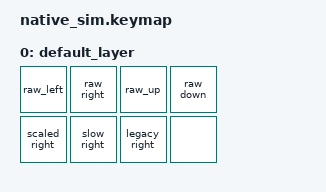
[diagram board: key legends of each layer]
#include <zephyr/dt-bindings/gpio/gpio.h>
#include <zephyr/dt-bindings/input/input-event-codes.h>

#include <behaviors.dtsi>
#include <dt-bindings/zmk/kscan_mock.h>

/ {
    behaviors {
        raw_left: raw_left {
            compatible = "zmk,behavior-gpio-emul-input";
            #binding-cells = <0>;
            gpios = <&gpio0 1 GPIO_ACTIVE_HIGH>;
        };
        raw_right: raw_right {
            compatible = "zmk,behavior-gpio-emul-input";
            #binding-cells = <0>;
            gpios = <&gpio0 2 GPIO_ACTIVE_HIGH>;
        };
        raw_up: raw_up {
            compatible = "zmk,behavior-gpio-emul-input";
            #binding-cells = <0>;
            gpios = <&gpio0 3 GPIO_ACTIVE_HIGH>;
        };
        raw_down: raw_down {
            compatible = "zmk,behavior-gpio-emul-input";
            #binding-cells = <0>;
            gpios = <&gpio0 4 GPIO_ACTIVE_HIGH>;
        };
        scaled_right: scaled_right {
            compatible = "zmk,behavior-gpio-emul-input";
            #binding-cells = <0>;
            gpios = <&gpio0 7 GPIO_ACTIVE_HIGH>;
        };
        slow_right: slow_right {
            compatible = "zmk,behavior-gpio-emul-input";
            #binding-cells = <0>;
            gpios = <&gpio0 12 GPIO_ACTIVE_HIGH>;
        };
        legacy_right: legacy_right {
            compatible = "zmk,behavior-gpio-emul-input";
            #binding-cells = <0>;
            gpios = <&gpio0 17 GPIO_ACTIVE_HIGH>;
        };
    };

    raw_trackball: raw_trackball {
        compatible = "sparkfun,blackberry-trackballer";
        left-gpios = <&gpio0 1 GPIO_ACTIVE_HIGH>;
        right-gpios = <&gpio0 2 GPIO_ACTIVE_HIGH>;
        up-gpios = <&gpio0 3 GPIO_ACTIVE_HIGH>;
        down-gpios = <&gpio0 4 GPIO_ACTIVE_HIGH>;
        button-gpios = <&gpio0 5 GPIO_ACTIVE_HIGH>;
        zephyr,axis-x = <INPUT_REL_X>;
        zephyr,axis-y = <INPUT_REL_Y>;
        report-period-ms = <4>;
        interpolation-frames = <4>;
        acceleration-start-hz = <100>;
        acceleration-max-hz = <200>;
        minimum-step = <8>;
        maximum-step = <8>;
    };

    raw_trackball_listener: raw_trackball_listener {
        compatible = "zmk,input-listener";
        device = <&raw_trackball>;
    };

    scaled_trackball: scaled_trackball {
        compatible = "sparkfun,blackberry-trackballer";
        left-gpios = <&gpio0 6 GPIO_ACTIVE_HIGH>;
        right-gpios = <&gpio0 7 GPIO_ACTIVE_HIGH>;
        up-gpios = <&gpio0 8 GPIO_ACTIVE_HIGH>;
        down-gpios = <&gpio0 9 GPIO_ACTIVE_HIGH>;
        button-gpios = <&gpio0 10 GPIO_ACTIVE_HIGH>;
        zephyr,axis-x = <INPUT_REL_X>;
        zephyr,axis-y = <INPUT_REL_Y>;
        report-period-ms = <4>;
        interpolation-frames = <4>;
        acceleration-start-hz = <100>;
        acceleration-max-hz = <200>;
        minimum-step = <8>;
        maximum-step = <8>;
    };

    scaled_speed: scaled_speed {
        compatible = "zmk,input-processor-speed-profile";
        #input-processor-cells = <0>;
        type = <INPUT_EV_REL>;
        codes = <INPUT_REL_X INPUT_REL_Y>;
        speed-percentages = <300>;
        default-speed-level = <1>;
        track-remainders;
    };

    scaled_trackball_listener: scaled_trackball_listener {
        compatible = "zmk,input-listener";
        device = <&scaled_trackball>;
        input-processors = <&scaled_speed>;
    };

    slow_trackball: slow_trackball {
        compatible = "sparkfun,blackberry-trackballer";
        left-gpios = <&gpio0 11 GPIO_ACTIVE_HIGH>;
        right-gpios = <&gpio0 12 GPIO_ACTIVE_HIGH>;
        up-gpios = <&gpio0 13 GPIO_ACTIVE_HIGH>;
        down-gpios = <&gpio0 14 GPIO_ACTIVE_HIGH>;
        button-gpios = <&gpio0 15 GPIO_ACTIVE_HIGH>;
        zephyr,axis-x = <INPUT_REL_X>;
        zephyr,axis-y = <INPUT_REL_Y>;
        report-period-ms = <4>;
        interpolation-frames = <4>;
        acceleration-start-hz = <100>;
        acceleration-max-hz = <200>;
        minimum-step = <1>;
        maximum-step = <1>;
    };

    slow_trackball_listener: slow_trackball_listener {
        compatible = "zmk,input-listener";
        device = <&slow_trackball>;
    };

    legacy_trackball: legacy_trackball {
        compatible = "sparkfun,blackberry-trackballer";
        left-gpios = <&gpio0 16 GPIO_ACTIVE_HIGH>;
        right-gpios = <&gpio0 17 GPIO_ACTIVE_HIGH>;
        up-gpios = <&gpio0 18 GPIO_ACTIVE_HIGH>;
        down-gpios = <&gpio0 19 GPIO_ACTIVE_HIGH>;
        button-gpios = <&gpio0 20 GPIO_ACTIVE_HIGH>;
        zephyr,axis-x = <INPUT_REL_X>;
        zephyr,axis-y = <INPUT_REL_Y>;
        report-period-ms = <4>;
        acceleration-start-hz = <100>;
        acceleration-max-hz = <200>;
        minimum-step = <8>;
        maximum-step = <8>;
    };

    legacy_trackball_listener: legacy_trackball_listener {
        compatible = "zmk,input-listener";
        device = <&legacy_trackball>;
    };

    keymap {
        compatible = "zmk,keymap";

        default_layer {
            bindings = <
                &raw_left       &raw_right       &raw_up          &raw_down
                &scaled_right   &slow_right      &legacy_right    &none
            >;
        };
    };
};

&kscan {
    rows = <2>;
    columns = <4>;
    events = <
        /* Step 8 is split into four synchronized diagonal reports of -2/-2. */
        ZMK_MOCK_PRESS(0,0,1)
        ZMK_MOCK_RELEASE(0,0,1)
        ZMK_MOCK_PRESS(0,2,1)
        ZMK_MOCK_RELEASE(0,2,25)

        /* The opposite diagonal has the same synchronized frame sequence. */
        ZMK_MOCK_PRESS(0,1,1)
        ZMK_MOCK_RELEASE(0,1,1)
        ZMK_MOCK_PRESS(0,3,1)
        ZMK_MOCK_RELEASE(0,3,25)

        /* Two pulses before the first report combine to 16, then split into four 4s. */
        ZMK_MOCK_PRESS(0,1,1)
        ZMK_MOCK_RELEASE(0,1,1)
        ZMK_MOCK_PRESS(0,1,1)
        ZMK_MOCK_RELEASE(0,1,25)

        /* Opposite pulses before the first report cancel without an old-direction tail. */
        ZMK_MOCK_PRESS(0,0,1)
        ZMK_MOCK_RELEASE(0,0,1)
        ZMK_MOCK_PRESS(0,1,1)
        ZMK_MOCK_RELEASE(0,1,25)

        /* Independent frame state: X starts one report period before Y. */
        ZMK_MOCK_PRESS(0,1,1)
        ZMK_MOCK_RELEASE(0,1,6)
        ZMK_MOCK_PRESS(0,3,1)
        ZMK_MOCK_RELEASE(0,3,25)

        /* The downstream 300% processor scales each frame from 2 to 6. */
        ZMK_MOCK_PRESS(1,0,1)
        ZMK_MOCK_RELEASE(1,0,25)

        /* A one-unit pulse is sent immediately without empty interpolation reports. */
        ZMK_MOCK_PRESS(1,1,1)
        ZMK_MOCK_RELEASE(1,1,10)

        /* Omitting interpolation-frames preserves the legacy one-report behavior. */
        ZMK_MOCK_PRESS(1,2,1)
        ZMK_MOCK_RELEASE(1,2,10)
    >;
};
